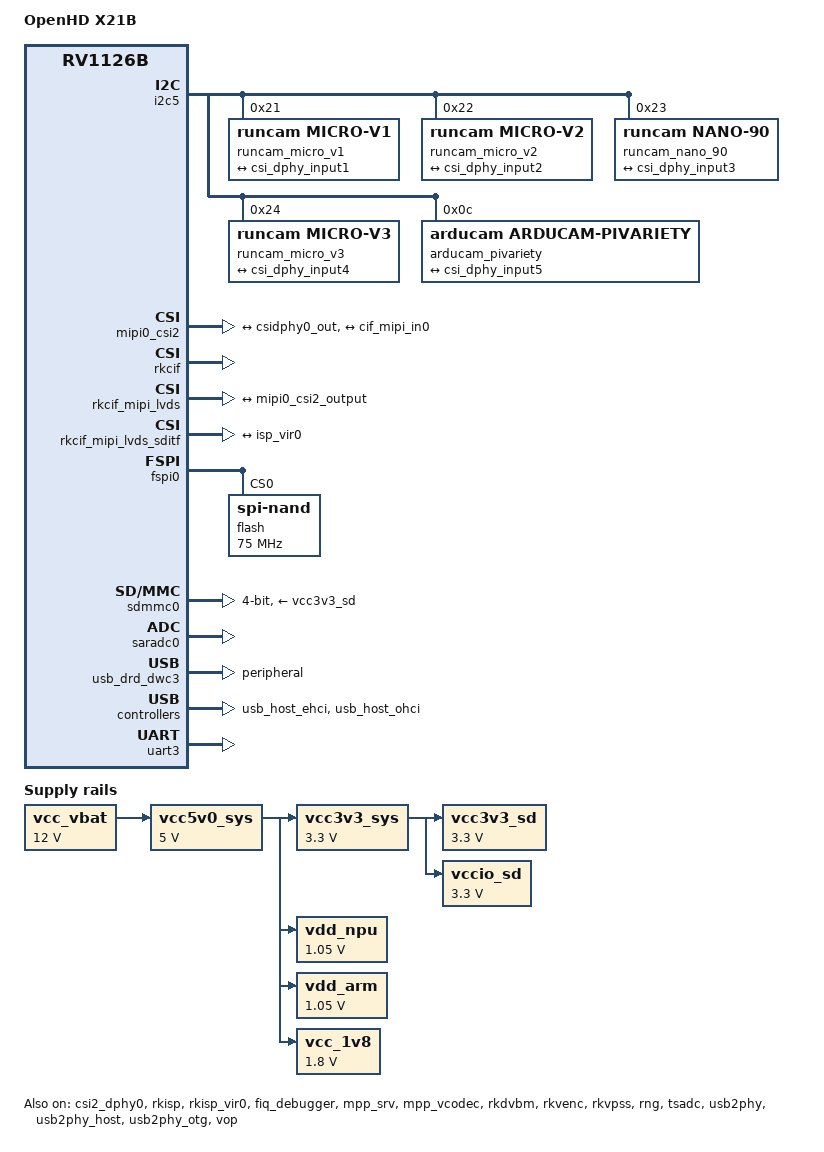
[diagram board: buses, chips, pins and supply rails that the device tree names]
// SPDX-License-Identifier: (GPL-2.0+ OR MIT)
/*
 * Copyright (c) 2026 OpenHD Project
 */
/dts-v1/;
#include "rv1126bp.dtsi"

/ {
	model = "OpenHD X21B";
	compatible = "openhd,x21b", "rockchip,rv1126b";

	chosen {
		bootargs = "earlycon=uart8250,mmio32,0x20810000 console=ttyFIQ0 root=/dev/mtdblock4 coherent_pool=32K";
	};

	// Input is 7-23V but linux dont allow variable voltage fixed rg so fix at 12v
	vcc_vbat: vcc-vbat {
		compatible = "regulator-fixed";
		regulator-name = "vcc12v_dcin";
		regulator-always-on;
		regulator-boot-on;
		regulator-min-microvolt = <12000000>;
		regulator-max-microvolt = <12000000>;
	};

	vcc5v0_sys: vcc5v0-sys {
		compatible = "regulator-fixed";
		regulator-name = "vcc5v0_sys";
		regulator-always-on;
		regulator-boot-on;
		regulator-min-microvolt = <5000000>;
		regulator-max-microvolt = <5000000>;
		vin-supply = <&vcc_vbat>;
	};

	vcc3v3_sys: vcc33sys {
		compatible = "regulator-fixed";
		regulator-name = "vcc3v3_sys";
		regulator-always-on;
		regulator-boot-on;
		regulator-min-microvolt = <3300000>;
		regulator-max-microvolt = <3300000>;
		vin-supply = <&vcc5v0_sys>;
	};

	vdd_npu: vdd-npu {
		compatible = "regulator-fixed";
		regulator-name = "vdd_npu";
		regulator-min-microvolt = <1050000>;
		regulator-max-microvolt = <1050000>;
		regulator-always-on;
		regulator-boot-on;
		vin-supply = <&vcc5v0_sys>;
	};

	vdd_arm: vdd-arm {
		compatible = "regulator-fixed";
		regulator-name = "vdd_arm";
		regulator-min-microvolt = <1050000>;
		regulator-max-microvolt = <1050000>;
		regulator-always-on;
		regulator-boot-on;
		vin-supply = <&vcc5v0_sys>;
	};

	vcc_1v8: vcc-1v8 {
		compatible = "regulator-fixed";
		regulator-name = "vcc_1v8";
		regulator-always-on;
		regulator-boot-on;
		regulator-min-microvolt = <1800000>;
		regulator-max-microvolt = <1800000>;
		vin-supply = <&vcc5v0_sys>;
	};

	// SD regulators are fake, as sdmmc needs to claim them, and have 2 separate regs, on the board there is single 3v3 fixed regulator
	vcc3v3_sd: vcc3v3-sd {
		compatible = "regulator-fixed";
		regulator-name = "vcc3v3_sd";
		regulator-always-on;
		regulator-boot-on;
		regulator-min-microvolt = <3300000>;
		regulator-max-microvolt = <3300000>;
		vin-supply = <&vcc3v3_sys>;
		regulator-state-mem {
			regulator-off-in-suspend;
			regulator-suspend-microvolt = <3300000>;
		};
	};

	vccio_sd: vccio-sd {
		compatible = "regulator-fixed";
		regulator-name = "vccio_sd";
		regulator-always-on;
		regulator-boot-on;
		regulator-min-microvolt = <3300000>;
		regulator-max-microvolt = <3300000>;
		vin-supply = <&vcc3v3_sys>;
		regulator-state-mem {
			regulator-off-in-suspend;
			regulator-suspend-microvolt = <3300000>;
		};
	};


};

&cpu0 {
	cpu-supply = <&vdd_arm>;
};

&csi2_dphy0 {
	status = "okay";

	port@0 {
		reg = <0>;
		#address-cells = <1>;
		#size-cells = <0>;

		csi_dphy_input1: endpoint@1 {
			reg = <1>;
			remote-endpoint = <&runcam_micro_v1_out>;
			data-lanes = <1 2 3 4>;
		};

		csi_dphy_input2: endpoint@2 {
			reg = <2>;
			remote-endpoint = <&runcam_micro_v2_out>;
			data-lanes = <1 2 3 4>;
		};

		csi_dphy_input3: endpoint@3 {
			reg = <3>;
			remote-endpoint = <&runcam_nano_90_out>;
			data-lanes = <1 2 3 4>;
		};

		csi_dphy_input4: endpoint@4 {
			reg = <4>;
			remote-endpoint = <&runcam_micro_v3_out>;
			data-lanes = <1 2 3 4>;
		};

		csi_dphy_input5: endpoint@5 {
			reg = <4>;
			remote-endpoint = <&arducam_out>;
			data-lanes = <1 2 3 4>;
		};
	};

	port@1 {
		reg = <1>;
		#address-cells = <1>;
		#size-cells = <0>;

		csidphy0_out: endpoint@0 {
			reg = <0>;
			remote-endpoint = <&mipi0_csi2_input>;
		};
	};
};

&i2c5 {
	status = "okay";
	pinctrl-0 = <&i2c5m2_pins>;

	runcam_micro_v1: runcam-micro-v1@21 {
		compatible = "runcam,micro-v1";
		status = "okay";
		reg = <0x21>;
		clocks = <&cru CLK_MIPI0_OUT2IO>;
		clock-names = "xvclk";
		pinctrl-names = "default";
		pinctrl-0 = <&cam_clk0_pins>;
		rockchip,camera-module-index = <0>;
		rockchip,camera-module-facing = "front";
		rockchip,camera-module-name = "runcam-micro-v1";
		rockchip,camera-module-lens-name = "default";

		port {
			runcam_micro_v1_out: endpoint {
				remote-endpoint = <&csi_dphy_input1>;
				data-lanes = <1 2 3 4>;
			};
		};
	};

	runcam_micro_v2: runcam-micro-v2@22 {
		compatible = "runcam,micro-v2";
		status = "okay";
		reg = <0x22>;
		clocks = <&cru CLK_MIPI0_OUT2IO>;
		clock-names = "xvclk";
		pinctrl-names = "default";
		pinctrl-0 = <&cam_clk0_pins>;
		rockchip,camera-module-index = <0>;
		rockchip,camera-module-facing = "front";
		rockchip,camera-module-name = "runcam-micro-v2";
		rockchip,camera-module-lens-name = "default";

		port {
			runcam_micro_v2_out: endpoint {
				remote-endpoint = <&csi_dphy_input2>;
				data-lanes = <1 2 3 4>;
			};
		};
	};

	runcam_nano_90: runcam-nano-90@23 {
		compatible = "runcam,nano-90";
		status = "okay";
		reg = <0x23>;
		clocks = <&cru CLK_MIPI0_OUT2IO>;
		clock-names = "xvclk";
		pinctrl-names = "default";
		pinctrl-0 = <&cam_clk0_pins>;
		rockchip,camera-module-index = <0>;
		rockchip,camera-module-facing = "front";
		rockchip,camera-module-name = "runcam-nano-90";
		rockchip,camera-module-lens-name = "default";

		port {
			runcam_nano_90_out: endpoint {
				remote-endpoint = <&csi_dphy_input3>;
				data-lanes = <1 2 3 4>;
			};
		};
	};

	runcam_micro_v3: runcam-micro-v3@24 {
		compatible = "runcam,micro-v3";
		status = "okay";
		reg = <0x24>;
		clocks = <&cru CLK_MIPI0_OUT2IO>;
		clock-names = "xvclk";
		pinctrl-names = "default";
		pinctrl-0 = <&cam_clk0_pins>;
		rockchip,camera-module-index = <0>;
		rockchip,camera-module-facing = "front";
		rockchip,camera-module-name = "runcam-micro-v3";
		rockchip,camera-module-lens-name = "default";

		port {
			runcam_micro_v3_out: endpoint {
				remote-endpoint = <&csi_dphy_input4>;
				data-lanes = <1 2 3 4>;
			};
		};
	};

	arducam_pivariety: arducam-pivariety@c {
		status = "okay";
		compatible = "arducam,arducam-pivariety";
		reg = <0x0c>;
		clocks = <&cru CLK_MIPI0_OUT2IO>;
		clock-names = "xclk";
		pinctrl-names = "default";
		pinctrl-0 = <&cam_clk0_pins>;
		rockchip,camera-module-index = <1>;
		rockchip,camera-module-facing = "front";
		rockchip,camera-module-name = "arducam-pivariety";
		rockchip,camera-module-lens-name = "default";
		port {
			arducam_out: endpoint {
				remote-endpoint = <&csi_dphy_input5>;
				data-lanes = <1 2 3 4>;
			};
		};
	};
};

&mipi0_csi2 {
	status = "okay";

	ports {
		#address-cells = <1>;
		#size-cells = <0>;

		port@0 {
			reg = <0>;
			#address-cells = <1>;
			#size-cells = <0>;

			mipi0_csi2_input: endpoint@1 {
				reg = <1>;
				remote-endpoint = <&csidphy0_out>;
			};
		};

		port@1 {
			reg = <1>;
			#address-cells = <1>;
			#size-cells = <0>;

			mipi0_csi2_output: endpoint@0 {
				reg = <0>;
				remote-endpoint = <&cif_mipi_in0>;
			};
		};
	};
};

&rkcif {
	status = "okay";
};

&rkcif_mipi_lvds {
	status = "okay";

	port {
		cif_mipi_in0: endpoint {
			remote-endpoint = <&mipi0_csi2_output>;
		};
	};
};

&rkcif_mipi_lvds_sditf {
	status = "okay";

	port {
		mipi_lvds_sditf: endpoint {
			remote-endpoint = <&isp_vir0>;
		};
	};
};

&rkcif_mmu {
	status = "okay";
};

&rkisp {
	status = "okay";
};

&rkisp_mmu {
	status = "okay";
};

&rkisp_vir0 {
	status = "okay";

	port {
		#address-cells = <1>;
		#size-cells = <0>;

		isp_vir0: endpoint@0 {
			reg = <0>;
			remote-endpoint = <&mipi_lvds_sditf>;
		};
	};
};

&fiq_debugger {
	status = "okay";
};

&fspi0 {
	status = "okay";

	flash@0 {
		compatible = "spi-nand";
		reg = <0>;
		spi-max-frequency = <75000000>;
		spi-rx-bus-width = <4>;
		spi-tx-bus-width = <1>;
	};
};

&mpp_srv {
	status = "okay";
};

&mpp_vcodec {
	status = "okay";
};

&rkdvbm {
	status = "okay";
};

&rkvenc {
	venc-supply = <&vdd_npu>;
	status = "okay";
};

&rkvenc_mmu {
	status = "okay";
};

&rkvpss {
	status = "okay";
	dvbm = <&rkdvbm>;
};

&rkvpss_mmu {
	status = "okay";
};

&rng {
	status = "okay";
};

&sdmmc0 {
	max-frequency = <200000000>;
	no-sdio;
	no-mmc;
	bus-width = <4>;
	cap-mmc-highspeed;
	cap-sd-highspeed;
	disable-wp;
	sd-uhs-sdr104;
	vmmc-supply = <&vcc3v3_sd>;
	vqmmc-supply = <&vccio_sd>;
	status = "okay";
};

&saradc0 {
	status = "okay";
};

&tsadc {
	status = "okay";
};

&usb2phy {
	status = "okay";
};

&usb2phy_host {
	phy-supply = <&vcc5v0_sys>;
	status = "okay";
};

&usb2phy_otg {
	status = "okay";
};

&usb_drd_dwc3 {
	status = "okay";
	dr_mode = "peripheral";
};

&usb_host_ehci {
	status = "okay";
};

&usb_host_ohci {
	status = "okay";
};

&vop {
	status = "okay";
};

&vop_mmu {
	status = "okay";
};

// LED MCU UART
&uart3 {
	pinctrl-names = "default";
	pinctrl-0 = <&uart3m2_xfer_pins>;
	status = "okay";
};
